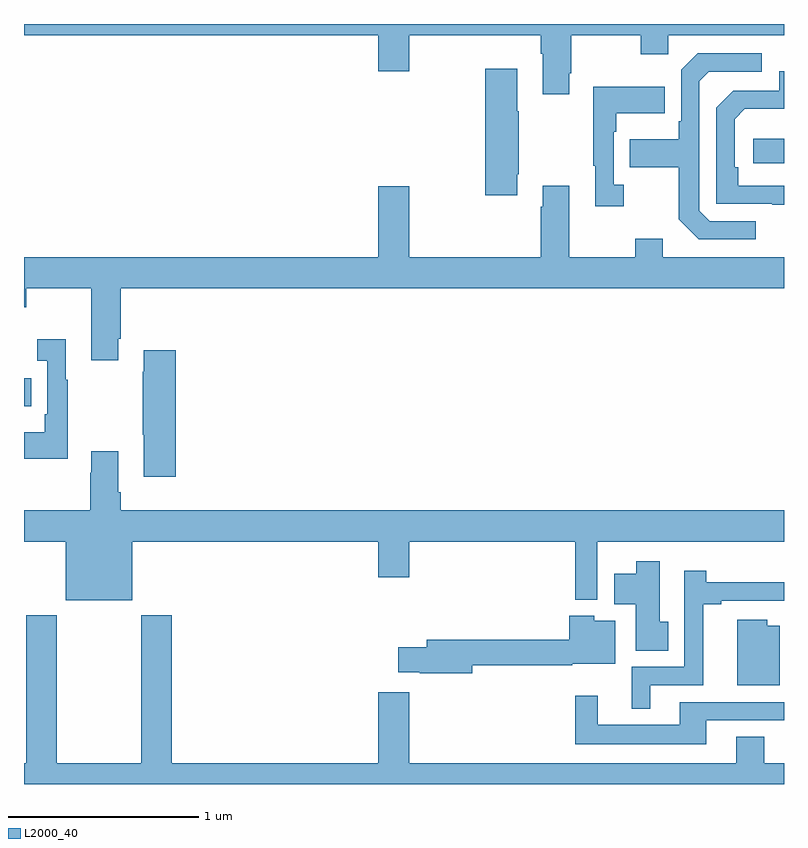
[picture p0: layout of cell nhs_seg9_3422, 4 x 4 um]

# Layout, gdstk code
import gdstk
lib = gdstk.Library(unit=1e-6, precision=1e-09)
def R(c, l, rs):  # rectangles x0, y0, x1, y1
    for r in rs: c.add(gdstk.rectangle(r[:2], r[2:], *l))
def P(c, l, *ps):  # polygons
    for p in ps: c.add(gdstk.Polygon(p, *l))
L2000_40 = (2000, 40)

nhs_seg9_3422 = lib.new_cell('nhs_seg9_3422')
R(nhs_seg9_3422, L2000_40, [(307,1174.487,307.037,1174.635), (310.839,1175.766,311,1175.896)])
P(nhs_seg9_3422, L2000_40, [(307,1176.44),(308.864,1176.44),(308.864,1176.252),(309.028,1176.252),(309.028,1176.44),(309.719,1176.44),(309.719,1176.344),(309.731,1176.344),(309.731,1176.129),(309.871,1176.129),(309.871,1176.241),(309.879,1176.241),(309.879,1176.44),(310.246,1176.44),(310.246,1176.341),(310.392,1176.341),(310.392,1176.44),(311,1176.44),(311,1176.5),(307,1176.5)],
  [(310.852,1175.463),(310.608,1175.463),(310.554,1175.517),(310.554,1176.198),(310.605,1176.249),(310.882,1176.249),(310.882,1176.345),(310.545,1176.345),(310.458,1176.258),(310.458,1175.989),(310.446,1175.989),(310.446,1175.893),(310.189,1175.893),(310.189,1175.746),(310.446,1175.746),(310.446,1175.473),(310.551,1175.367),(310.852,1175.367)],
  [(309.595,1175.71),(309.603,1175.71),(309.603,1176.041),(309.595,1176.041),(309.595,1176.265),(309.428,1176.265),(309.428,1175.598),(309.595,1175.598)],
  [(311,1175.649),(310.76,1175.649),(310.76,1175.746),(310.74,1175.746),(310.74,1176),(310.793,1176.053),(311,1176.053),(311,1176.252),(310.974,1176.252),(310.974,1176.15),(310.734,1176.15),(310.644,1176.06),(310.644,1175.553),(310.939,1175.553),(310.939,1175.548),(311,1175.548)],
  [(310.156,1175.654),(310.104,1175.654),(310.104,1175.933),(310.117,1175.933),(310.117,1176.029),(310.373,1176.029),(310.373,1176.169),(309.996,1176.169),(309.996,1175.753),(310.007,1175.753),(310.007,1175.541),(310.156,1175.541)],
  [(307.495,1174.843),(307.508,1174.843),(307.508,1175.108),(311,1175.108),(311,1175.272),(310.363,1175.272),(310.363,1175.371),(310.216,1175.371),(310.216,1175.272),(309.871,1175.272),(309.871,1175.65),(309.731,1175.65),(309.731,1175.537),(309.719,1175.537),(309.719,1175.272),(309.028,1175.272),(309.028,1175.647),(308.864,1175.647),(308.864,1175.272),(307,1175.272),(307,1175.009),(307.011,1175.009),(307.011,1175.108),(307.355,1175.108),(307.355,1174.731),(307.495,1174.731)],
  [(307.231,1174.627),(307.219,1174.627),(307.219,1174.84),(307.071,1174.84),(307.071,1174.727),(307.122,1174.727),(307.122,1174.447),(307.11,1174.447),(307.11,1174.351),(307,1174.351),(307,1174.211),(307.231,1174.211)],
  [(307.799,1174.783),(307.631,1174.783),(307.631,1174.67),(307.624,1174.67),(307.624,1174.339),(307.631,1174.339),(307.631,1174.116),(307.799,1174.116)],
  [(307.57,1173.776),(308.864,1173.776),(308.864,1173.588),(309.028,1173.588),(309.028,1173.776),(309.901,1173.776),(309.901,1173.47),(310.017,1173.47),(310.017,1173.776),(311,1173.776),(311,1173.94),(307.508,1173.94),(307.508,1174.036),(307.495,1174.036),(307.495,1174.252),(307.355,1174.252),(307.355,1174.139),(307.348,1174.139),(307.348,1173.94),(307,1173.94),(307,1173.776),(307.22,1173.776),(307.22,1173.467),(307.57,1173.467)],
  [(310.391,1173.354),(310.345,1173.354),(310.345,1173.673),(310.223,1173.673),(310.223,1173.607),(310.106,1173.607),(310.106,1173.446),(310.22,1173.446),(310.22,1173.202),(310.391,1173.202)],
  [(310.297,1173.021),(310.574,1173.021),(310.574,1173.445),(310.669,1173.445),(310.669,1173.465),(311,1173.465),(311,1173.563),(310.592,1173.563),(310.592,1173.622),(310.476,1173.622),(310.476,1173.117),(310.199,1173.117),(310.199,1172.897),(310.297,1172.897)],
  [(311,1172.608),(310.896,1172.608),(310.896,1172.75),(310.748,1172.75),(310.748,1172.608),(309.028,1172.608),(309.028,1172.983),(308.864,1172.983),(308.864,1172.608),(307.778,1172.608),(307.778,1173.388),(307.618,1173.388),(307.618,1172.608),(307.173,1172.608),(307.173,1173.388),(307.013,1173.388),(307.013,1172.608),(307,1172.608),(307,1172.5),(311,1172.5)],
  [(309.358,1173.124),(309.885,1173.124),(309.885,1173.134),(310.111,1173.134),(310.111,1173.358),(310.002,1173.358),(310.002,1173.385),(309.869,1173.385),(309.869,1173.26),(309.119,1173.26),(309.119,1173.219),(308.97,1173.219),(308.97,1173.089),(309.082,1173.089),(309.082,1173.082),(309.358,1173.082)],
  [(310.978,1173.334),(310.912,1173.334),(310.912,1173.364),(310.754,1173.364),(310.754,1173.02),(310.978,1173.02)],
  [(310.591,1172.835),(311,1172.835),(311,1172.931),(310.451,1172.931),(310.451,1172.812),(310.021,1172.812),(310.021,1172.965),(309.9,1172.965),(309.9,1172.708),(310.591,1172.708)])

lib.write_gds('nhs_seg9_3422.gds')
